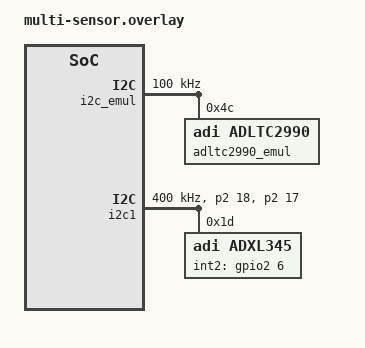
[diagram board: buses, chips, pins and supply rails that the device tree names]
/*
 * Copyright (c) 2025 Analog Devices, Inc.
 *
 * SPDX-License-Identifier: MIT
 *
 * Multi-sensor example: ADXL345 (real HW) + ADLTC2990 (emulated)
 * Demonstrates two IIO devices exposed simultaneously via libiio.
 */

#include <zephyr/dt-bindings/i2c/i2c.h>
#include <zephyr/dt-bindings/sensor/adxl345.h>
#include <dt-bindings/iio/sensor-channels.h>

/* ------------------------------------------------------------------ */
/* ADXL345: Real I2C accelerometer on I2C1                            */
/* ------------------------------------------------------------------ */

/* I2C1 Pin Configuration for ADXL345 */
&i2c1a_scl_p2_18 {
	drive-strength = <2>;
	bias-pull-up;
};

&i2c1a_sda_p2_17 {
	drive-strength = <2>;
	bias-pull-up;
};

&i2c1 {
	pinctrl-0 = <&i2c1a_scl_p2_18 &i2c1a_sda_p2_17>;
	pinctrl-names = "default";
	status = "okay";
	clock-frequency = <I2C_BITRATE_FAST>;

	adxl345: adxl345@1d {
		reg = <0x1d>;
		compatible = "adi,adxl345";
		int2-gpios = <&gpio2 6 (GPIO_PULL_DOWN | GPIO_ACTIVE_HIGH)>;
		range = <2>;
		odr = <12>;
		status = "okay";
	};
};

/* ------------------------------------------------------------------ */
/* ADLTC2990: Emulated sensor on virtual I2C bus                      */
/* ------------------------------------------------------------------ */

/ {
	i2c_emul: i2c@100 {
		compatible = "zephyr,i2c-emul-controller";
		reg = <0x100 4>;
		clock-frequency = <I2C_BITRATE_STANDARD>;
		#address-cells = <1>;
		#size-cells = <0>;
		status = "okay";

		adltc2990_emul: adltc2990@4c {
			compatible = "adi,adltc2990";
			reg = <0x4c>;
			status = "okay";
			measurement-mode = <3 0>;
			pins-v1-v2-current-resistor = <0>;
			pins-v3-v4-current-resistor = <0>;
			pin-v1-voltage-divider-resistors = <500 1000>;
			pin-v2-voltage-divider-resistors = <110000 100000>;
			pin-v3-voltage-divider-resistors = <7000 1000>;
			pin-v4-voltage-divider-resistors = <500 1000>;
		};
	};
};

/* ------------------------------------------------------------------ */
/* IIO Context: two devices exposed to libiio                         */
/* ------------------------------------------------------------------ */

/ {
	iio-context {
		#address-cells = <1>;
		#size-cells = <0>;

		iio-device@1 {
			compatible = "iio,sensor";
			reg = <1>;
			sensor-device = <&adxl345>;
			sensor-channels = <
				IIO_SENSOR_CHAN_ACCEL_X
				IIO_SENSOR_CHAN_ACCEL_Y
				IIO_SENSOR_CHAN_ACCEL_Z
			>;
			buffer-name = "buffer0";
		};

		iio-device@2 {
			compatible = "iio,sensor";
			reg = <2>;
			sensor-device = <&adltc2990_emul>;
			sensor-channels = <
				IIO_SENSOR_CHAN_VOLTAGE
				IIO_SENSOR_CHAN_VOLTAGE
				IIO_SENSOR_CHAN_VOLTAGE
				IIO_SENSOR_CHAN_VOLTAGE
				IIO_SENSOR_CHAN_CURRENT
				IIO_SENSOR_CHAN_DIE_TEMP
				IIO_SENSOR_CHAN_AMBIENT_TEMP
			>;
			buffer-name = "buffer1";
		};
	};
};
